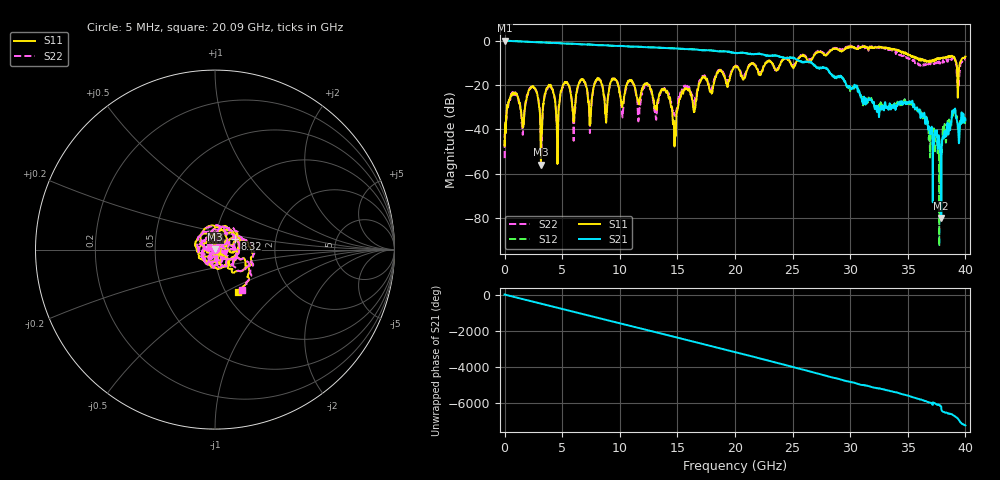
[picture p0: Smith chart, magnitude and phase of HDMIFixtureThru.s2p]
! C:\LeCroy\WavePulser\Measurements\HDMIFixtureThru.s2p
! Thu Jun  6 10:26:09 2019
!!Measured using Teledyne LeCroy WavePulser LCRY4096E1
!SingleEnded
! freq S11 S21 S12 S22
# MHz S MA R 50.00
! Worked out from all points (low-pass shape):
!   8000 points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, 5 MHz to 40 GHz, reference 50 ohm
!   highest |S21| = 0.02 dB at 5 MHz (marker M1); lowest = -80.1 dB at 37.91 GHz (marker M2)
!   |S21| within 3 dB of the highest: start of sweep to 12.28 GHz
!   lowest |S11| = -56.0 dB at 3.16 GHz (marker M3), VSWR 1.00, Z = 50 + j0.155 ohm
!   |S11| at or under -10 dB: start of sweep to 22.64 GHz; 23.19 GHz to 23.97 GHz (779.1 MHz wide, 3.3 % of centre); 24.83 GHz to 25.29 GHz (455.5 MHz wide, 1.82 % of centre)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
!   |S22| runs from -53.1 to -2.2 dB; largest |S21 - S12| = 0.021
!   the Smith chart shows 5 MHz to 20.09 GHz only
!   S11 on the Smith chart (normalised r, x): 5 MHz: 1.01, -0.01; 8.32 GHz: 1.24, +0.15; 20.09 GHz: 1.13, -0.57
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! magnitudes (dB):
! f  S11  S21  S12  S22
! 5 MHz  -45.5  0.0  0.1  -53.1
! 745 MHz  -24.4  -0.2  -0.2  -23.9
! 1.58 GHz  -38.8  -0.4  -0.5  -42.5
! 2.57 GHz  -21.2  -0.7  -0.7  -21.2
! 3.16 GHz  -56.0  -0.8  -0.8  -45.6
! 3.805 GHz  -20.4  -1.0  -1.0  -20.7
! 4.59 GHz  -45.8  -1.1  -1.1  -48.6
! 5.17 GHz  -19.3  -1.3  -1.3  -19.6
! 6.675 GHz  -17.5  -1.7  -1.7  -17.7
! 7.43 GHz  -36.6  -1.8  -1.8  -35.8
! 8.32 GHz  -18.0  -2.1  -2.1  -17.9
! 8.785 GHz  -35.1  -2.1  -2.1  -32.2
! 9.485 GHz  -17.5  -2.4  -2.4  -17.2
! 13.34 GHz  -26.8  -3.2  -3.2  -28.1
! 14.77 GHz  -45.5  -3.6  -3.5  -33.6
! 15.57 GHz  -22.0  -3.7  -3.8  -20.4
! 20 GHz  -11.8  -5.6  -5.6  -11.5
! 20.09 GHz  -11.5  -5.5  -5.6  -11.3
! 26.67 GHz  -8.5  -10.0  -10.0  -8.0
! 33.34 GHz  -3.7  -31.1  -29.7  -3.9
! 37.91 GHz  -7.8  -80.1  -50.4  -9.3
! 40 GHz  -7.2  -35.7  -35.7  -8.6
